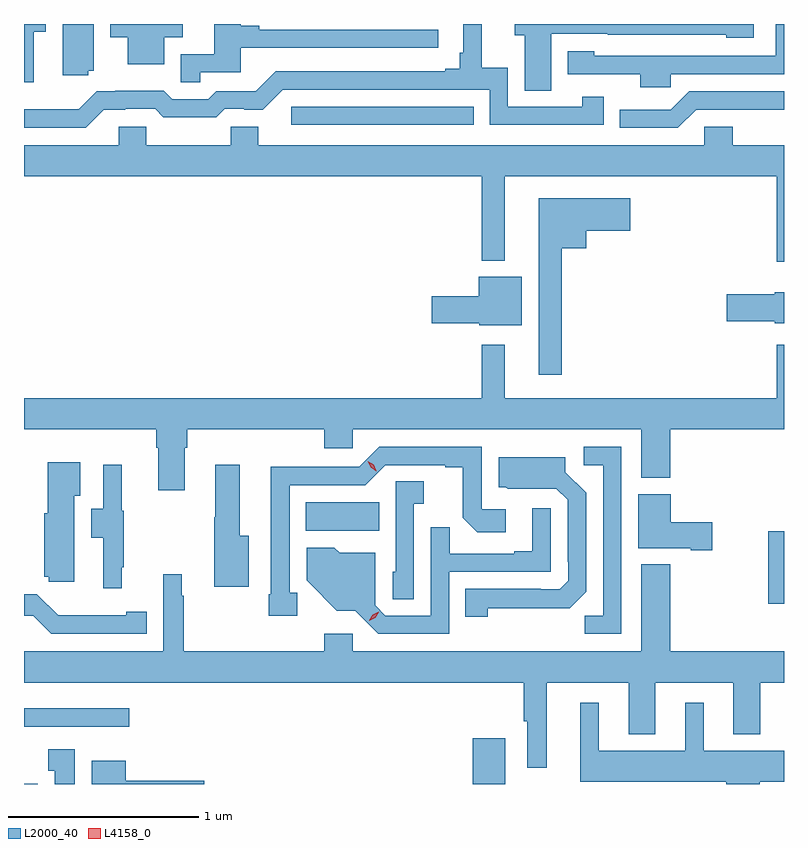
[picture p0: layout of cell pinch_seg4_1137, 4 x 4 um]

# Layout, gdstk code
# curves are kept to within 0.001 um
import gdstk
lib = gdstk.Library(unit=1e-6, precision=1e-09)
def R(c, l, rs):  # rectangles x0, y0, x1, y1
    for r in rs: c.add(gdstk.rectangle(r[:2], r[2:], *l))
def P(c, l, *ps):  # polygons
    for p in ps: c.add(gdstk.Polygon(p, *l))
L2000_40 = (2000, 40)
L4158_0 = (4158, 0)

pinch_seg4_1137 = lib.new_cell('pinch_seg4_1137')
R(pinch_seg4_1137, L2000_40, [(481.761,788.294,481.834,788.296), (484.124,788.294,484.294,788.536), (481.761,788.595,482.314,788.692), (485.678,789.243,485.761,789.624), (483.245,789.626,483.632,789.778), (483.168,791.763,484.127,791.859)])
P(pinch_seg4_1137, L2000_40, [(484.537,792.243),(484.833,792.243),(484.833,792.237),(485.457,792.237),(485.457,792.221),(485.602,792.221),(485.602,792.294),(484.343,792.294),(484.343,792.236),(484.397,792.236),(484.397,791.944),(484.537,791.944)],
  [(481.813,792.253),(481.876,792.253),(481.876,792.294),(481.761,792.294),(481.761,791.988),(481.813,791.988)],
  [(482.5,792.224),(482.596,792.224),(482.596,792.294),(482.216,792.294),(482.216,792.224),(482.306,792.224),(482.306,792.083),(482.5,792.083)],
  [(482.688,792.039),(482.902,792.039),(482.902,792.168),(483.94,792.168),(483.94,792.264),(482.998,792.264),(482.998,792.284),(482.902,792.284),(482.902,792.294),(482.762,792.294),(482.762,792.135),(482.585,792.135),(482.585,791.988),(482.688,791.988)],
  [(485.164,792.03),(485.761,792.03),(485.761,792.294),(485.718,792.294),(485.718,792.126),(484.761,792.126),(484.761,792.151),(484.622,792.151),(484.622,792.03),(485.005,792.03),(485.005,791.961),(485.164,791.961)],
  [(482.1,792.048),(482.128,792.048),(482.128,792.294),(481.964,792.294),(481.964,792.023),(482.1,792.023)],
  [(482.181,791.844),(482.294,791.844),(482.294,791.847),(482.451,791.847),(482.495,791.804),(482.774,791.804),(482.817,791.847),(482.919,791.847),(482.919,791.844),(483.018,791.844),(483.123,791.949),(484.212,791.949),(484.212,791.763),(484.812,791.763),(484.812,791.911),(484.7,791.911),(484.7,791.859),(484.308,791.859),(484.308,792.065),(484.171,792.065),(484.171,792.294),(484.073,792.294),(484.073,792.142),(484.054,792.142),(484.054,792.058),(483.977,792.058),(483.977,792.045),(483.086,792.045),(482.981,791.94),(482.774,791.94),(482.732,791.898),(482.541,791.898),(482.497,791.942),(482.242,791.942),(482.242,791.94),(482.145,791.94),(482.05,791.845),(481.761,791.845),(481.761,791.748),(482.085,791.748)],
  [(485.298,791.844),(485.575,791.844),(485.575,791.843),(485.761,791.843),(485.761,791.94),(485.262,791.94),(485.166,791.844),(484.897,791.844),(484.897,791.748),(485.202,791.748)],
  [(485.761,791.656),(485.492,791.656),(485.492,791.754),(485.34,791.754),(485.34,791.656),(482.995,791.656),(482.995,791.754),(482.849,791.754),(482.849,791.656),(482.405,791.656),(482.405,791.754),(482.259,791.754),(482.259,791.656),(481.761,791.656),(481.761,791.492),(484.17,791.492),(484.17,791.048),(484.291,791.048),(484.291,791.492),(485.724,791.492),(485.724,791.043),(485.761,791.043)],
  [(484.591,791.114),(484.72,791.114),(484.72,791.207),(484.951,791.207),(484.951,791.377),(484.469,791.377),(484.469,790.449),(484.591,790.449)],
  [(484.381,790.963),(484.154,790.963),(484.154,790.862),(483.906,790.862),(483.906,790.72),(484.158,790.72),(484.158,790.709),(484.381,790.709)],
  [(485.761,790.882),(485.712,790.882),(485.712,790.871),(485.46,790.871),(485.46,790.729),(485.712,790.729),(485.712,790.718),(485.761,790.718)],
  [(482.608,790.064),(482.621,790.064),(482.621,790.16),(483.341,790.16),(483.341,790.062),(483.492,790.062),(483.492,790.16),(485.009,790.16),(485.009,789.905),(485.162,789.905),(485.162,790.16),(485.761,790.16),(485.761,790.606),(485.724,790.606),(485.724,790.324),(484.291,790.324),(484.291,790.606),(484.17,790.606),(484.17,790.324),(481.761,790.324),(481.761,790.16),(482.456,790.16),(482.456,790.064),(482.468,790.064),(482.468,789.84),(482.608,789.84)],
  [(484.905,790.068),(484.707,790.068),(484.707,789.972),(484.809,789.972),(484.809,789.179),(484.713,789.179),(484.713,789.084),(484.905,789.084)],
  [(483.198,789.3),(483.16,789.3),(483.16,789.867),(483.557,789.867),(483.662,789.972),(483.977,789.972),(483.977,789.96),(484.071,789.96),(484.071,789.695),(484.146,789.62),(484.297,789.62),(484.297,789.741),(484.17,789.741),(484.17,790.068),(483.63,790.068),(483.525,789.963),(483.293,789.963),(483.293,789.965),(483.059,789.965),(483.059,789.292),(483.049,789.292),(483.049,789.18),(483.198,789.18)],
  [(484.203,789.22),(484.633,789.22),(484.719,789.306),(484.719,789.826),(484.609,789.936),(484.609,790.015),(484.259,790.015),(484.259,789.857),(484.297,789.857),(484.306,789.848),(484.563,789.849),(484.623,789.789),(484.623,789.463),(484.626,789.463),(484.626,789.363),(484.581,789.318),(484.481,789.318),(484.481,789.321),(484.084,789.321),(484.084,789.174),(484.203,789.174)],
  [(482.026,789.812),(482.056,789.812),(482.056,789.988),(481.886,789.988),(481.886,789.72),(481.868,789.72),(481.868,789.384),(481.89,789.384),(481.89,789.359),(482.026,789.359)],
  [(482.944,789.601),(482.896,789.601),(482.896,789.973),(482.768,789.973),(482.768,789.697),(482.761,789.697),(482.761,789.332),(482.944,789.332)],
  [(482.276,789.436),(482.287,789.436),(482.287,789.732),(482.276,789.732),(482.276,789.973),(482.178,789.973),(482.178,789.744),(482.114,789.744),(482.114,789.589),(482.177,789.589),(482.177,789.324),(482.276,789.324)],
  [(483.813,789.769),(483.865,789.769),(483.865,789.887),(483.717,789.887),(483.717,789.411),(483.702,789.411),(483.702,789.267),(483.813,789.267)],
  [(485.383,789.671),(485.164,789.671),(485.164,789.82),(484.994,789.82),(484.994,789.536),(485.27,789.536),(485.27,789.524),(485.383,789.524)],
  [(483.999,789.411),(484.533,789.411),(484.533,789.745),(484.436,789.745),(484.436,789.52),(484.34,789.52),(484.34,789.507),(484.001,789.507),(484.001,789.646),(483.903,789.646),(483.903,789.18),(483.663,789.18),(483.609,789.234),(483.609,789.511),(483.422,789.511),(483.395,789.538),(483.248,789.538),(483.248,789.367),(483.408,789.206),(483.504,789.206),(483.626,789.084),(483.999,789.084)],
  [(484.513,788.828),(484.943,788.828),(484.943,788.555),(485.083,788.555),(485.083,788.828),(485.495,788.828),(485.495,788.555),(485.635,788.555),(485.635,788.828),(485.761,788.828),(485.761,788.992),(485.162,788.992),(485.162,789.451),(485.009,789.451),(485.009,788.992),(483.492,788.992),(483.492,789.085),(483.341,789.085),(483.341,788.992),(482.602,788.992),(482.602,789.284),(482.59,789.284),(482.59,789.397),(482.493,789.397),(482.493,788.992),(481.761,788.992),(481.761,788.828),(484.392,788.828),(484.392,788.623),(484.409,788.623),(484.409,788.379),(484.513,788.379)],
  [(482.408,789.2),(482.3,789.2),(482.3,789.181),(481.94,789.181),(481.829,789.292),(481.761,789.292),(481.761,789.18),(481.809,789.18),(481.905,789.084),(482.408,789.084)],
  [(485.634,788.306),(485.761,788.306),(485.761,788.47),(485.338,788.47),(485.338,788.722),(485.24,788.722),(485.24,788.47),(484.786,788.47),(484.786,788.722),(484.688,788.722),(484.688,788.306),(485.456,788.306),(485.456,788.294),(485.634,788.294)],
  [(482.029,788.476),(481.889,788.476),(481.889,788.363),(481.922,788.363),(481.922,788.294),(482.029,788.294)],
  [(482.71,788.312),(482.296,788.312),(482.296,788.416),(482.117,788.416),(482.117,788.294),(482.71,788.294)])
P(pinch_seg4_1137, L4158_0, [(483.579,789.154),(483.579,789.155),(483.596,789.184),(483.627,789.2),(483.627,789.2),(483.627,789.199),(483.61,789.17),(483.579,789.154)],
  [(483.616,789.941),(483.586,789.961),(483.57,789.993),(483.57,789.994),(483.571,789.994),(483.601,789.974),(483.616,789.942),(483.616,789.941)])

lib.write_gds('pinch_seg4_1137.gds')
